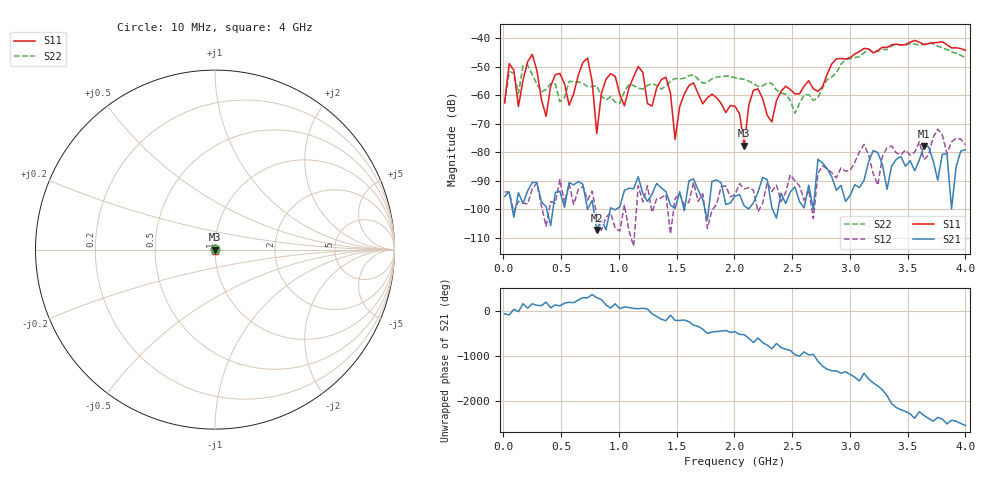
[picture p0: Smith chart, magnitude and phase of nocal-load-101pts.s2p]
! PocketVna 1.81  pocketvna.com
! Live measurements ((Reflection-S11, Transmission-S21, Transmission-S12, Reflection-S22) Linear 10000000-4000000000/101 non-calibrated)
# GHz S MA R 50
! GHz  |S11|  <S11  |S21|  <S21  |S12|  <S12  |S22|  <S22
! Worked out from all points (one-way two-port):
!   101 points, 10 MHz to 4 GHz, reference 50 ohm
!   highest |S21| = -77.92 dB at 3.641 GHz (marker M1); lowest = -107.3 dB at 808 MHz (marker M2)
!   lowest |S11| = -77.7 dB at 2.085 GHz (marker M3), VSWR 1.00, Z = 50 + j0.00549 ohm
!   |S11| at or under -10 dB: start of sweep to end of sweep
!   |S22| runs from -66.4 to -41.8 dB; largest |S21 - S12| = 0.00025
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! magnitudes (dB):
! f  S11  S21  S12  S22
! 10 MHz  -62.7  -95.5  -94.0  -63.0
! 49.9 MHz  -49.0  -94.0  -94.0  -51.8
! 129.7 MHz  -64.0  -94.2  -97.2  -59.4
! 249.4 MHz  -45.7  -90.7  -92.9  -52.8
! 369.1 MHz  -67.5  -99.1  -106.0  -58.0
! 688.3 MHz  -48.5  -91.3  -92.1  -55.9
! 808 MHz  -73.5  -107.3  -102.1  -56.7
! 927.7 MHz  -52.5  -99.5  -101.3  -60.6
! 1.047 GHz  -63.8  -93.5  -98.5  -58.8
! 1.167 GHz  -50.0  -88.6  -91.8  -57.6
! 1.247 GHz  -63.0  -97.3  -91.9  -56.6
! 1.367 GHz  -54.6  -92.5  -96.0  -57.9
! 1.486 GHz  -75.5  -99.8  -96.3  -54.2
! 1.646 GHz  -55.7  -89.4  -90.6  -52.9
! 2.005 GHz  -63.9  -95.4  -94.9  -53.9
! 2.085 GHz  -77.7  -98.9  -92.9  -54.5
! 2.165 GHz  -58.3  -97.8  -93.4  -55.9
! 2.324 GHz  -69.4  -99.6  -93.8  -55.9
! 2.683 GHz  -57.8  -100.2  -103.3  -61.9
! 3.362 GHz  -42.3  -84.8  -77.8  -42.8
! 3.641 GHz  -42.3  -77.9  -82.6  -42.2
! 4 GHz  -44.3  -79.2  -77.5  -46.9
